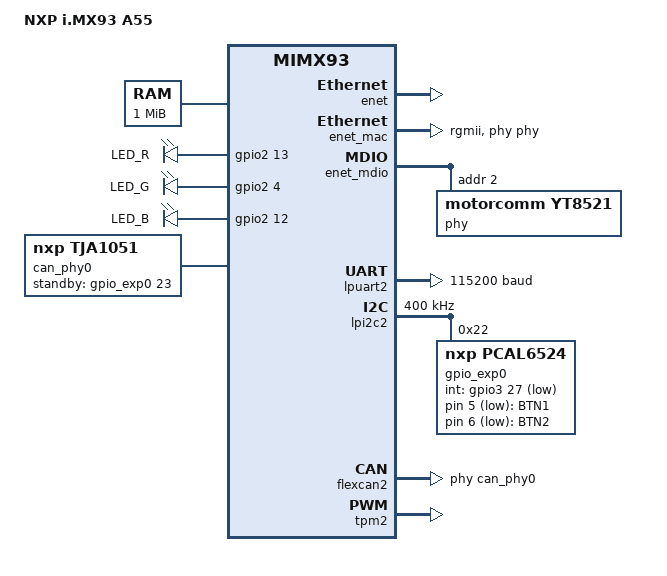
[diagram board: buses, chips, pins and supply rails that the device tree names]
/*
 * Copyright 2025 NXP
 *
 * SPDX-License-Identifier: Apache-2.0
 */

/dts-v1/;

#include <nxp/nxp_mimx93_a55.dtsi>
#include "frdm_imx93-pinctrl.dtsi"
#include <zephyr/dt-bindings/input/input-event-codes.h>

/ {
	model = "NXP i.MX93 A55";
	compatible = "fsl,mimx93";

	chosen {
		zephyr,console = &lpuart2;
		zephyr,shell-uart = &lpuart2;
		/* sram node actually locates at DDR DRAM */
		zephyr,sram = &dram;
		zephyr,canbus = &flexcan2;
	};

	cpus {
		cpu@0 {
			status = "disabled";
		};
	};

	dram: memory@d0000000 {
		reg = <0xd0000000 DT_SIZE_M(1)>;
	};

	aliases {
		led0 = &led_r;
		led1 = &led_g;
		sw0 = &btn_1;
	};

	leds {
		compatible = "gpio-leds";
		led_r: led_r {
			label = "LED_R";
			gpios = <&gpio2 13 GPIO_ACTIVE_HIGH>;
		};
		led_g: led_g {
			label = "LED_G";
			gpios = <&gpio2 4 GPIO_ACTIVE_HIGH>;
		};
		led_b: led_b {
			label = "LED_B";
			gpios = <&gpio2 12 GPIO_ACTIVE_HIGH>;
		};
	};

	keys {
		compatible = "gpio-keys";

		btn_1: btn_1{
			label = "BTN1";
			gpios = <&gpio_exp0 5 GPIO_ACTIVE_LOW>;
			zephyr,code = <INPUT_KEY_0>;
		};

		btn_2: btn_2{
			label = "BTN2";
			gpios = <&gpio_exp0 6 GPIO_ACTIVE_LOW>;
			zephyr,code = <INPUT_KEY_1>;
		};
	};

	can_phy0: can-phy0 {
		compatible = "nxp,tja1051", "can-transceiver-gpio";
		standby-gpios = <&gpio_exp0 23 GPIO_ACTIVE_HIGH>;
		max-bitrate = <5000000>;
		#phy-cells = <0>;
		status = "okay";
	};
};

&enet {
	status = "okay";
};

&enet_mac {
	pinctrl-0 = <&pinmux_enet>;
	pinctrl-names = "default";
	phy-handle = <&phy>;
	zephyr,random-mac-address;
	phy-connection-type = "rgmii";
	status = "okay";
};

&enet_mdio {
	pinctrl-0 = <&pinmux_mdio>;
	pinctrl-names = "default";
	status = "okay";
	phy: phy@2 {
		compatible = "motorcomm,yt8521";
		reg = <2>;
		status = "okay";
	};
};

&lpuart1 {
	status = "disabled";
	current-speed = <115200>;
	/* clocks = <&ccm IMX_CCM_UART4_CLK 0x6c 24>; */
	pinctrl-0 = <&uart1_default>;
	pinctrl-names = "default";
};

&lpuart2 {
	status = "okay";
	current-speed = <115200>;
	/* clocks = <&ccm IMX_CCM_UART4_CLK 0x6c 24>; */
	pinctrl-0 = <&uart2_default>;
	pinctrl-names = "default";
};

&lpi2c1 {
	status = "disabled";
	clock-frequency = <I2C_BITRATE_FAST>;
	pinctrl-0 = <&i2c1_default>;
	pinctrl-names = "default";
};

&lpi2c2 {
	status = "okay";
	clock-frequency = <I2C_BITRATE_FAST>;
	pinctrl-0 = <&i2c2_default>;
	pinctrl-names = "default";

	gpio_exp0: pcal6524@22 {
		compatible = "nxp,pcal6524";
		reg = <0x22>;
		gpio-controller;
		#gpio-cells = <2>;
		ngpios = <24>;
		int-gpios = <&gpio3 27 (GPIO_ACTIVE_LOW|GPIO_PULL_UP)>;
		status = "okay";
	};
};

&lpspi3 {
	status = "disabled";
	clock-frequency = <1000000>;
	pinctrl-0 = <&spi3_default>;
	pinctrl-names = "default";
};

&edma4_2 {
	status = "disabled";
};

&gpio1{
	status = "okay";
};

&gpio2{
	status = "okay";
};

&gpio3{
	status = "okay";
};

&gpio4{
	status = "okay";
};

&flexcan2 {
	pinctrl-0 = <&flexcan2_default>;
	pinctrl-names = "default";
	phys = <&can_phy0>;
	status = "okay";
};

&sai3_2 {
	status = "disabled";
	pinctrl-0 = <&sai3_default>;
	pinctrl-names = "default";
};

&tpm2 {
	status = "okay";
};

&usdhc1 {
	pinctrl-0 = <&pinmux_usdhc1>;
	pinctrl-1 = <&pinmux_usdhc1_100mhz>;
	pinctrl-2 = <&pinmux_usdhc1_200mhz>;
	pinctrl-names = "default", "med", "fast";
	mmc-hs200-1_8v;
	mmc-hs400-1_8v;
	read-watermark = <0x10>;
	write-watermark = <0x80>;
	status = "disabled";
	sdmmc {
		compatible = "zephyr,mmc-disk";
		disk-name = "SD2";
		status = "disabled";
	};
};

&usdhc2 {
	pinctrl-0 = <&pinmux_usdhc2>;
	pinctrl-1 = <&pinmux_usdhc2_100mhz>;
	pinctrl-2 = <&pinmux_usdhc2_200mhz>;
	pinctrl-names = "default", "med", "fast";
	pwr-gpios = <&gpio3 7 GPIO_ACTIVE_HIGH>;
	cd-gpios = <&gpio3 0 GPIO_ACTIVE_LOW>;
	power-delay-ms = <20>;
	mmc-hs200-1_8v;
	mmc-hs400-1_8v;
	read-watermark = <0x10>;
	write-watermark = <0x80>;
	status = "disabled";
	sdmmc {
		compatible = "zephyr,sdmmc-disk";
		disk-name = "SD";
		status = "disabled";
	};
};

display_i2c: &lpi2c1 {};

nxp_cam_i2c: &lpi2c3 {};

nxp_mipi_csi: &mipi_csi {};

nxp_isi: &isi {};
